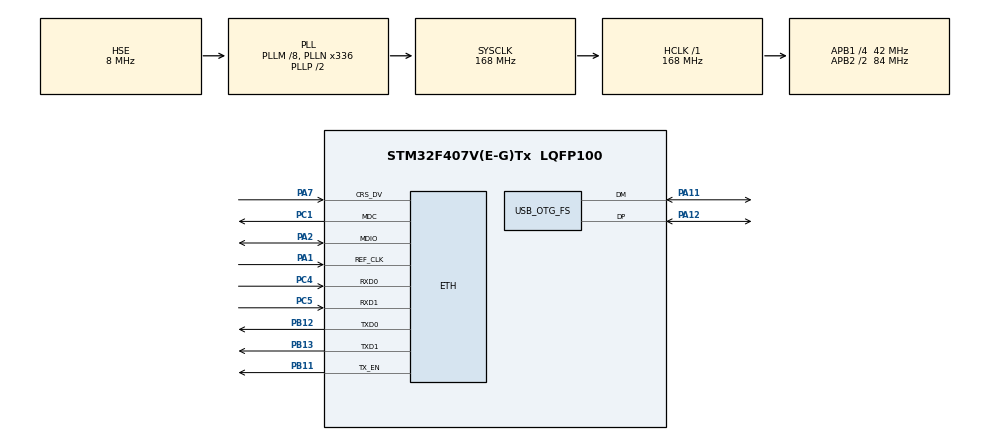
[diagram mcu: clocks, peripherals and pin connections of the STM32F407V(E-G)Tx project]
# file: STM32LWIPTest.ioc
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ETH.MACAddr=00\:02\:F7\:F1\:D4\:EA
ETH.MediaInterface=ETH_MEDIA_INTERFACE_RMII
ETH.PHY_DUPLEX_STATUS=0x0010
ETH.PHY_ISFR=0x001D
ETH.PHY_ISFR_INT4=0x0010
ETH.PHY_Name_RMII=LAN8742A_PHY_ADDRESS
ETH.PHY_READ_TO=0x0000FFFF
ETH.PHY_RESET_DELAY=0x00000FFF
ETH.PHY_SPEED_STATUS=0x0004
ETH.PHY_SR=0x1F
ETH.PHY_WRITE_TO=0x0000FFFF
ETH.PhyAddress=0
FREERTOS.Tasks01=defaultTask,0,512,StartDefaultTask,Default,NULL,Dynamic,NULL,NULL
FREERTOS.configUSE_TICK_HOOK=0
LWIP.GATEWAY_ADDRESS=163.050.136.254
LWIP.IP_ADDRESS=163.050.137.048
LWIP.LWIP_DHCP=1
LWIP.LWIP_UDP=1
LWIP.MEMP_NUM_TCP_PCB=1
LWIP.NETMASK_ADDRESS=255.255.254.000
LWIP.Version=v2.0.3_Cube
Mcu.Family=STM32F4
Mcu.Name=STM32F407V(E-G)Tx
Mcu.Package=LQFP100
NVIC.ETH_IRQn=true\:5\:0\:false\:false\:true\:true\:true
NVIC.OTG_FS_IRQn=true\:5\:0\:false\:false\:true\:true\:true
NVIC.PriorityGroup=NVIC_PRIORITYGROUP_4
NVIC.TIM1_UP_TIM10_IRQn=true\:0\:0\:false\:false\:true\:false\:false
NVIC.TimeBase=TIM1_UP_TIM10_IRQn
NVIC.TimeBaseIP=TIM10
PA1.Mode=RMII
PA1.Signal=ETH_REF_CLK
PA11.Mode=Device_Only
PA11.Signal=USB_OTG_FS_DM
PA12.Mode=Device_Only
PA12.Signal=USB_OTG_FS_DP
PA13.Mode=Serial_Wire
PA13.Signal=SYS_JTMS-SWDIO
PA14.Mode=Serial_Wire
PA14.Signal=SYS_JTCK-SWCLK
PA2.Mode=RMII
PA2.Signal=ETH_MDIO
PA7.Mode=RMII
PA7.Signal=ETH_CRS_DV
PB11.Mode=RMII
PB11.Signal=ETH_TX_EN
PB12.Mode=RMII
PB12.Signal=ETH_TXD0
PB13.Mode=RMII
PB13.Signal=ETH_TXD1
PC1.Mode=RMII
PC1.Signal=ETH_MDC
PC4.Mode=RMII
PC4.Signal=ETH_RXD0
PC5.Mode=RMII
PC5.Signal=ETH_RXD1
PH0-OSC_IN.Mode=HSE-External-Oscillator
PH0-OSC_IN.Signal=RCC_OSC_IN
PH1-OSC_OUT.Mode=HSE-External-Oscillator
PH1-OSC_OUT.Signal=RCC_OSC_OUT
ProjectManager.HeapSize=0x200
ProjectManager.StackSize=0x400
ProjectManager.TargetToolchain=Makefile
RCC.48MHZClocksFreq_Value=48000000
RCC.AHBFreq_Value=168000000
RCC.APB1CLKDivider=RCC_HCLK_DIV4
RCC.APB1Freq_Value=42000000
RCC.APB1TimFreq_Value=84000000
RCC.APB2CLKDivider=RCC_HCLK_DIV2
RCC.APB2Freq_Value=84000000
RCC.APB2TimFreq_Value=168000000
RCC.CortexFreq_Value=168000000
RCC.HCLKFreq_Value=168000000
RCC.HSE_VALUE=8000000
RCC.HSI_VALUE=16000000
RCC.LSE_VALUE=32768
RCC.PLLM=8
RCC.PLLN=336
RCC.PLLQ=7
RCC.SYSCLKFreq_VALUE=168000000
RCC.SYSCLKSource=RCC_SYSCLKSOURCE_PLLCLK
RCC.VCOOutputFreq_Value=336000000
USB_DEVICE.CLASS_NAME_FS=CDC
USB_DEVICE.VirtualMode-CDC_FS=Cdc
USB_DEVICE.VirtualModeFS=Cdc_FS
USB_OTG_FS.VirtualMode=Device_Only
VP_FREERTOS_VS_ENABLE.Mode=Enabled
VP_LWIP_VS_Enabled.Mode=Enabled
VP_SYS_VS_tim10.Mode=TIM10
VP_USB_DEVICE_VS_USB_DEVICE_CDC_FS.Mode=CDC_FS
board=custom

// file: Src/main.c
/**
  ******************************************************************************
  * @file           : main.c
  * @brief          : Main program body
  ******************************************************************************
  * This notice applies to any and all portions of this file
  * that are not between comment pairs USER CODE BEGIN and
  * USER CODE END. Other portions of this file, whether
  * inserted by the user or by software development tools
  * are owned by their respective copyright owners.
  *
  * Copyright (c) 2019 STMicroelectronics International N.V.
  * All rights reserved.
  *
  * Redistribution and use in source and binary forms, with or without
  * modification, are permitted, provided that the following conditions are met:
  *
  * 1. Redistribution of source code must retain the above copyright notice,
  *    this list of conditions and the following disclaimer.
  * 2. Redistributions in binary form must reproduce the above copyright notice,
  *    this list of conditions and the following disclaimer in the documentation
  *    and/or other materials provided with the distribution.
  * 3. Neither the name of STMicroelectronics nor the names of other
  *    contributors to this software may be used to endorse or promote products
  *    derived from this software without specific written permission.
  * 4. This software, including modifications and/or derivative works of this
  *    software, must execute solely and exclusively on microcontroller or
  *    microprocessor devices manufactured by or for STMicroelectronics.
  * 5. Redistribution and use of this software other than as permitted under
  *    this license is void and will automatically terminate your rights under
  *    this license.
  *
  * THIS SOFTWARE IS PROVIDED BY STMICROELECTRONICS AND CONTRIBUTORS "AS IS"
  * AND ANY EXPRESS, IMPLIED OR STATUTORY WARRANTIES, INCLUDING, BUT NOT
  * LIMITED TO, THE IMPLIED WARRANTIES OF MERCHANTABILITY, FITNESS FOR A
  * PARTICULAR PURPOSE AND NON-INFRINGEMENT OF THIRD PARTY INTELLECTUAL PROPERTY
  * RIGHTS ARE DISCLAIMED TO THE FULLEST EXTENT PERMITTED BY LAW. IN NO EVENT
  * SHALL STMICROELECTRONICS OR CONTRIBUTORS BE LIABLE FOR ANY DIRECT, INDIRECT,
  * INCIDENTAL, SPECIAL, EXEMPLARY, OR CONSEQUENTIAL DAMAGES (INCLUDING, BUT NOT
  * LIMITED TO, PROCUREMENT OF SUBSTITUTE GOODS OR SERVICES; LOSS OF USE, DATA,
  * OR PROFITS; OR BUSINESS INTERRUPTION) HOWEVER CAUSED AND ON ANY THEORY OF
  * LIABILITY, WHETHER IN CONTRACT, STRICT LIABILITY, OR TORT (INCLUDING
  * NEGLIGENCE OR OTHERWISE) ARISING IN ANY WAY OUT OF THE USE OF THIS SOFTWARE,
  * EVEN IF ADVISED OF THE POSSIBILITY OF SUCH DAMAGE.
  *
  ******************************************************************************
  */
#include "main.h"
#include "stm32f4xx_hal.h"
#include "cmsis_os.h"
#include "lwip.h"
#include "usb_device.h"
#include "gpio.h"

/* USER CODE BEGIN Includes */
#include "lwip/sockets.h"
/* USER CODE END Includes */

/* USER CODE BEGIN PV */
/* Private variables ---------------------------------------------------------*/

/* USER CODE END PV */

void SystemClock_Config(void);
void MX_FREERTOS_Init(void);

/* USER CODE BEGIN PFP */
/* Private function prototypes -----------------------------------------------*/
//void startSocketServerTask(const void* argument);

/* USER CODE END PFP */

int main(void)
{

  /* MCU Configuration----------------------------------------------------------*/

  /* Reset of all peripherals, Initializes the Flash interface and the Systick. */
  HAL_Init();

  /* Configure the system clock */
  SystemClock_Config();

  /* Initialize all configured peripherals */
  MX_GPIO_Init();
  /* USER CODE BEGIN 2 */
  //osThreadId startSocketServerTaskHandle;
  //osThreadDef(socketTask, startSocketServerTask, osPriorityNormal, 0, 128);
  //startSocketServerTaskHandle = osThreadCreate(osThread(socketTask), NULL);

  /* USER CODE END 2 */

  /* Call init function for freertos objects (in freertos.c) */
  MX_FREERTOS_Init();

  /* Start scheduler */
  osKernelStart();

  /* We should never get here as control is now taken by the scheduler */

  /* Infinite loop */
  while (1)
  {

  }

}

void SystemClock_Config(void)
{

  RCC_OscInitTypeDef RCC_OscInitStruct;
  RCC_ClkInitTypeDef RCC_ClkInitStruct;

    /**Configure the main internal regulator output voltage
    */
  __HAL_RCC_PWR_CLK_ENABLE();

  __HAL_PWR_VOLTAGESCALING_CONFIG(PWR_REGULATOR_VOLTAGE_SCALE1);

    /**Initializes the CPU, AHB and APB busses clocks
    */
  RCC_OscInitStruct.OscillatorType = RCC_OSCILLATORTYPE_HSE;
  RCC_OscInitStruct.HSEState = RCC_HSE_ON;
  RCC_OscInitStruct.PLL.PLLState = RCC_PLL_ON;
  RCC_OscInitStruct.PLL.PLLSource = RCC_PLLSOURCE_HSE;
  RCC_OscInitStruct.PLL.PLLM = 8;
  RCC_OscInitStruct.PLL.PLLN = 336;
  RCC_OscInitStruct.PLL.PLLP = RCC_PLLP_DIV2;
  RCC_OscInitStruct.PLL.PLLQ = 7;
  if (HAL_RCC_OscConfig(&RCC_OscInitStruct) != HAL_OK)
  {
    _Error_Handler(__FILE__, __LINE__);
  }

    /**Initializes the CPU, AHB and APB busses clocks
    */
  RCC_ClkInitStruct.ClockType = RCC_CLOCKTYPE_HCLK|RCC_CLOCKTYPE_SYSCLK
                              |RCC_CLOCKTYPE_PCLK1|RCC_CLOCKTYPE_PCLK2;
  RCC_ClkInitStruct.SYSCLKSource = RCC_SYSCLKSOURCE_PLLCLK;
  RCC_ClkInitStruct.AHBCLKDivider = RCC_SYSCLK_DIV1;
  RCC_ClkInitStruct.APB1CLKDivider = RCC_HCLK_DIV4;
  RCC_ClkInitStruct.APB2CLKDivider = RCC_HCLK_DIV2;

  if (HAL_RCC_ClockConfig(&RCC_ClkInitStruct, FLASH_LATENCY_5) != HAL_OK)
  {
    _Error_Handler(__FILE__, __LINE__);
  }

    /**Configure the Systick interrupt time
    */
  HAL_SYSTICK_Config(HAL_RCC_GetHCLKFreq()/1000);

    /**Configure the Systick
    */
  HAL_SYSTICK_CLKSourceConfig(SYSTICK_CLKSOURCE_HCLK);

  /* SysTick_IRQn interrupt configuration */
  HAL_NVIC_SetPriority(SysTick_IRQn, 15, 0);
}

/* USER CODE BEGIN 4 */

// void startSocketServerTask(const void* argument)
// {
//   //MX_LWIP_Init();

//   /*

//   int sockfd = lwip_socket(PF_INET, SOCK_STREAM, IPPROTO_TCP);

//   struct sockaddr_in reader_addr;
//   memset(&reader_addr, 0, sizeof(reader_addr));
//   reader_addr.sin_family = AF_INET;
//   reader_addr.sin_addr.s_addr = htonl(INADDR_ANY);
// //  reader_addr.sin_addr.s_addr = htonl("163.50.137.48");
//   reader_addr.sin_port = htons(80);

//   volatile int status = bind(sockfd, (struct sockaddr*)&reader_addr, sizeof(reader_addr));

//   if(status >= 0){
//     status = listen(sockfd, 5);
//   }

//   if(status >= 0){
//     struct sockaddr_in client_addr;
//     int client_addr_len;
//     int clientfd = accept(sockfd, &client_addr, &client_addr_len);
//   }

//   while(1){
//     volatile int result = 0;

//     if(result < 10){
//       result++;
//     }
//     else{
//       result = 0;
//     }

//   }

//   */

// }
/* USER CODE END 4 */

void HAL_TIM_PeriodElapsedCallback(TIM_HandleTypeDef *htim)
{
  if (htim->Instance == TIM10) {
    HAL_IncTick();
  }
}

void _Error_Handler(char *file, int line)
{
  while(1)
  {
  }
}

/************************ (C) COPYRIGHT STMicroelectronics *****END OF FILE****/

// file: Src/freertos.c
/* USER CODE BEGIN Header */
/**
  ******************************************************************************
  * File Name          : freertos.c
  * Description        : Code for freertos applications
  ******************************************************************************
  * This notice applies to any and all portions of this file
  * that are not between comment pairs USER CODE BEGIN and
  * USER CODE END. Other portions of this file, whether
  * inserted by the user or by software development tools
  * are owned by their respective copyright owners.
  *
  * Copyright (c) 2019 STMicroelectronics International N.V.
  * All rights reserved.
  *
  * Redistribution and use in source and binary forms, with or without
  * modification, are permitted, provided that the following conditions are met:
  *
  * 1. Redistribution of source code must retain the above copyright notice,
  *    this list of conditions and the following disclaimer.
  * 2. Redistributions in binary form must reproduce the above copyright notice,
  *    this list of conditions and the following disclaimer in the documentation
  *    and/or other materials provided with the distribution.
  * 3. Neither the name of STMicroelectronics nor the names of other
  *    contributors to this software may be used to endorse or promote products
  *    derived from this software without specific written permission.
  * 4. This software, including modifications and/or derivative works of this
  *    software, must execute solely and exclusively on microcontroller or
  *    microprocessor devices manufactured by or for STMicroelectronics.
  * 5. Redistribution and use of this software other than as permitted under
  *    this license is void and will automatically terminate your rights under
  *    this license.
  *
  * THIS SOFTWARE IS PROVIDED BY STMICROELECTRONICS AND CONTRIBUTORS "AS IS"
  * AND ANY EXPRESS, IMPLIED OR STATUTORY WARRANTIES, INCLUDING, BUT NOT
  * LIMITED TO, THE IMPLIED WARRANTIES OF MERCHANTABILITY, FITNESS FOR A
  * PARTICULAR PURPOSE AND NON-INFRINGEMENT OF THIRD PARTY INTELLECTUAL PROPERTY
  * RIGHTS ARE DISCLAIMED TO THE FULLEST EXTENT PERMITTED BY LAW. IN NO EVENT
  * SHALL STMICROELECTRONICS OR CONTRIBUTORS BE LIABLE FOR ANY DIRECT, INDIRECT,
  * INCIDENTAL, SPECIAL, EXEMPLARY, OR CONSEQUENTIAL DAMAGES (INCLUDING, BUT NOT
  * LIMITED TO, PROCUREMENT OF SUBSTITUTE GOODS OR SERVICES; LOSS OF USE, DATA,
  * OR PROFITS; OR BUSINESS INTERRUPTION) HOWEVER CAUSED AND ON ANY THEORY OF
  * LIABILITY, WHETHER IN CONTRACT, STRICT LIABILITY, OR TORT (INCLUDING
  * NEGLIGENCE OR OTHERWISE) ARISING IN ANY WAY OUT OF THE USE OF THIS SOFTWARE,
  * EVEN IF ADVISED OF THE POSSIBILITY OF SUCH DAMAGE.
  *
  ******************************************************************************
  */
/* USER CODE END Header */

#include "FreeRTOS.h"
#include "task.h"
#include "main.h"
#include "cmsis_os.h"

/* USER CODE BEGIN Includes */
#include "lwip/sockets.h"
/* USER CODE END Includes */

/* USER CODE BEGIN Variables */
osThreadId startSocketServerTaskHandle;
int isInitializedFinished = 0;
/* USER CODE END Variables */
osThreadId defaultTaskHandle;

/* USER CODE BEGIN FunctionPrototypes */
void startSocketServerTask(const void* argument);
/* USER CODE END FunctionPrototypes */

void StartDefaultTask(void const * argument);

extern void MX_LWIP_Init(void);
extern void MX_USB_DEVICE_Init(void);
void MX_FREERTOS_Init(void); /* (MISRA C 2004 rule 8.1) */

void MX_FREERTOS_Init(void) {

  /* Create the thread(s) */
  /* definition and creation of defaultTask */
  osThreadDef(defaultTask, StartDefaultTask, osPriorityNormal, 0, 512);
  defaultTaskHandle = osThreadCreate(osThread(defaultTask), NULL);

  /* USER CODE BEGIN RTOS_THREADS */
  /* add threads, ... */
  osThreadDef(socketTask, startSocketServerTask, osPriorityNormal, 0, 512);
  startSocketServerTaskHandle = osThreadCreate(osThread(socketTask), NULL);
  /* USER CODE END RTOS_THREADS */

}

void StartDefaultTask(void const * argument)
{
  /* init code for LWIP */
  MX_LWIP_Init();

  /* init code for USB_DEVICE */
  MX_USB_DEVICE_Init();

  /* USER CODE BEGIN StartDefaultTask */
  isInitializedFinished = 1;
//   int sockfd = lwip_socket(PF_INET, SOCK_STREAM, IPPROTO_TCP);

//   struct sockaddr_in reader_addr;
//   memset(&reader_addr, 0, sizeof(reader_addr));
//   reader_addr.sin_family = AF_INET;
//   reader_addr.sin_addr.s_addr = htonl(INADDR_ANY);
// //  reader_addr.sin_addr.s_addr = htonl("163.50.137.48");
//   reader_addr.sin_port = htons(80);

//   volatile int status = bind(sockfd, (struct sockaddr*)&reader_addr, sizeof(reader_addr));

//   if(status >= 0){
//     status = listen(sockfd, 5);
//   }

//   if(status >= 0){
//     struct sockaddr_in client_addr;
//     int client_addr_len;
//     int clientfd = accept(sockfd, &client_addr, &client_addr_len);
//   }

//   while(1){
//     volatile int result = 0;

//     if(result < 10){
//       result++;
//     }
//     else{
//       result = 0;
//     }

//   }

  /* Infinite loop */
  for(;;)
  {
    osDelay(1);
  }
  /* USER CODE END StartDefaultTask */
}

/* USER CODE BEGIN Application */
void startSocketServerTask(const void* argument)
{
  while(isInitializedFinished == 0);

  int sockfd = lwip_socket(PF_INET, SOCK_STREAM, IPPROTO_TCP);

  struct sockaddr_in reader_addr;
  memset(&reader_addr, 0, sizeof(reader_addr));
  reader_addr.sin_family = AF_INET;
  reader_addr.sin_addr.s_addr = htonl(INADDR_ANY);
  // reader_addr.sin_addr.s_addr = htonl("163.50.137.48");
  reader_addr.sin_port = htons(80);

  volatile int status = bind(sockfd, (struct sockaddr*)&reader_addr, sizeof(reader_addr));

  if(status >= 0){
    status = listen(sockfd, 5);
  }

  if(status >= 0){
    struct sockaddr_in client_addr;
    int client_addr_len;
    int clientfd = accept(sockfd, &client_addr, &client_addr_len);
  }

  while(1){
    volatile int result = 0;

    if(result < 10){
      result++;
    }
    else{
      result = 0;
    }

  }
}
/* USER CODE END Application */

/************************ (C) COPYRIGHT STMicroelectronics *****END OF FILE****/
